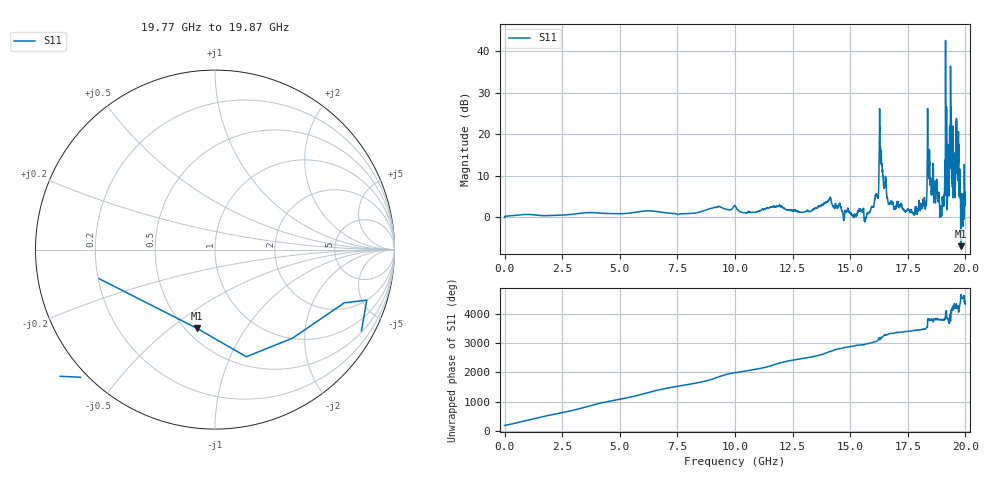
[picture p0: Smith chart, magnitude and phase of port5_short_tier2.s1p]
! Created with skrf 1.8.0 (http://scikit-rf.org).
# GHz S RI R 50.0
!freq ReS11 ImS11
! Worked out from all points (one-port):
!   10001 points, 1 MHz to 20 GHz, reference 50 ohm
!   lowest |S11| = -6.9 dB at 19.8 GHz (marker M1), VSWR 2.63, Z = 28.4 - j31.2 ohm
!   |S11| at or under -10 dB: nowhere
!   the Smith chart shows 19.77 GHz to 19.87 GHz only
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0.001  -1 0.000503
0.9889506  1.079 -0.0983
2.500875  -0.2246 -1.041
3.482826  0.0788 1.132
5.00075  1.103 -0.0754
5.9967  -1.183 0.0787
7.500625  0.1935 1.07
8.336583  -1.096 -0.2869
9.160542  1.304 0.1501
10.0005  -1.377 -0.1707
11.68042  -0.1247 1.34
12.50038  -0.2508 -1.18
13.42833  1.167 0.4705
14.10029  -1.661 -0.2066
15.00025  1.13 -0.0765
16.0082  -1.112 0.7692
16.30618  -0.71 -6.161
16.55617  2.165 1.573
17.50013  -1.196 0.3391
18.25809  -0.6135 -1.109
18.46008  -2.702 -0.5286
18.96805  -0.982 -0.3126
19.04005  -1.579 -0.4846
19.24204  -1.705 -1.515
19.26204  -2.407 -0.7544
19.56002  -0.0626 -2.87
19.79601  -0.1016 -0.4381
20  1.438 0.7184
